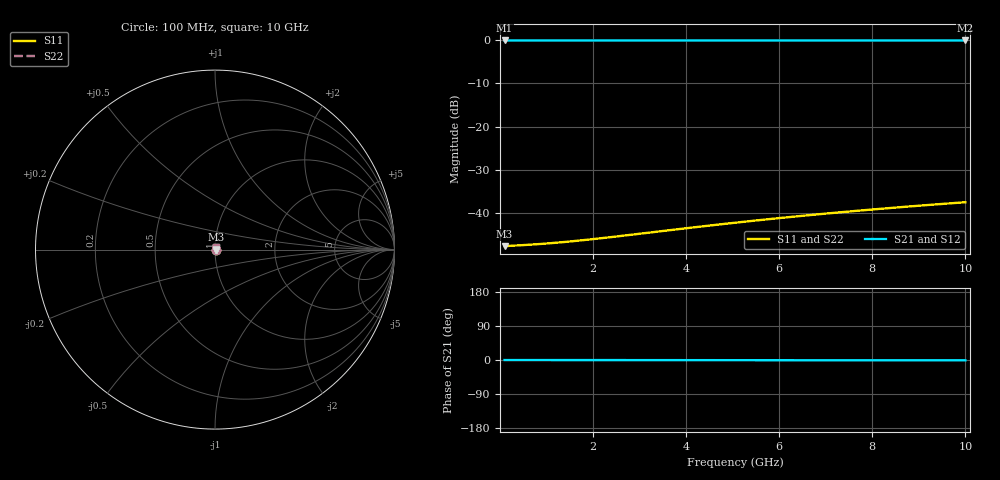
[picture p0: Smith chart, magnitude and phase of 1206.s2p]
# Hz S RI R 50.00
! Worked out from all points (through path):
!   100 points, 100 MHz to 10 GHz, reference 50 ohm
!   highest |S21| = -0.04 dB at 100 MHz (marker M1); lowest = 0.0 dB at 10 GHz (marker M2)
!   lowest |S11| = -47.7 dB at 100 MHz (marker M3), VSWR 1.01, Z = 50.4 + j0.0125 ohm
!   |S11| at or under -10 dB: start of sweep to end of sweep
!   |S22| runs from -47.7 to -37.6 dB; largest |S21 - S12| = 0
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1e8  0.0041 0.000124  0.9959 -0.000165  0.9959 -0.000165  0.0041 0.000124
6e8  0.00418 0.000745  0.9958 -0.000991  0.9958 -0.000991  0.00418 0.000745
8e8  0.0042 0.000993  0.9958 -0.00132  0.9958 -0.00132  0.0042 0.000993
1e9  0.00422 0.00124  0.9958 -0.00165  0.9958 -0.00165  0.00422 0.00124
1.2e9  0.00423 0.00149  0.9958 -0.00198  0.9958 -0.00198  0.00423 0.00149
1.4e9  0.00425 0.00174  0.9958 -0.00231  0.9958 -0.00231  0.00425 0.00174
1.8e9  0.00427 0.00223  0.9957 -0.00297  0.9957 -0.00297  0.00427 0.00223
2.1e9  0.00429 0.00261  0.9957 -0.00347  0.9957 -0.00347  0.00429 0.00261
2.4e9  0.0043 0.00298  0.9957 -0.00396  0.9957 -0.00396  0.0043 0.00298
3.4e9  0.00434 0.00422  0.9957 -0.00562  0.9957 -0.00562  0.00434 0.00422
4.3e9  0.00438 0.00533  0.9956 -0.0071  0.9956 -0.0071  0.00438 0.00533
5.1e9  0.00441 0.00633  0.9956 -0.00843  0.9956 -0.00843  0.00441 0.00633
5.5e9  0.00443 0.00682  0.9956 -0.00909  0.9956 -0.00909  0.00443 0.00682
5.9e9  0.00444 0.00732  0.9956 -0.00975  0.9956 -0.00975  0.00444 0.00732
6.3e9  0.00446 0.00782  0.9955 -0.0104  0.9955 -0.0104  0.00446 0.00782
6.7e9  0.00448 0.00831  0.9955 -0.0111  0.9955 -0.0111  0.00448 0.00831
7.1e9  0.00449 0.00881  0.9955 -0.0117  0.9955 -0.0117  0.00449 0.00881
7.5e9  0.00451 0.0093  0.9955 -0.0124  0.9955 -0.0124  0.00451 0.0093
7.9e9  0.00453 0.0098  0.9955 -0.0131  0.9955 -0.0131  0.00453 0.0098
8.4e9  0.00455 0.0104  0.9954 -0.0139  0.9954 -0.0139  0.00455 0.0104
9.2e9  0.00459 0.0114  0.9954 -0.0152  0.9954 -0.0152  0.00459 0.0114
1e10  0.00463 0.0124  0.9954 -0.0165  0.9954 -0.0165  0.00463 0.0124
